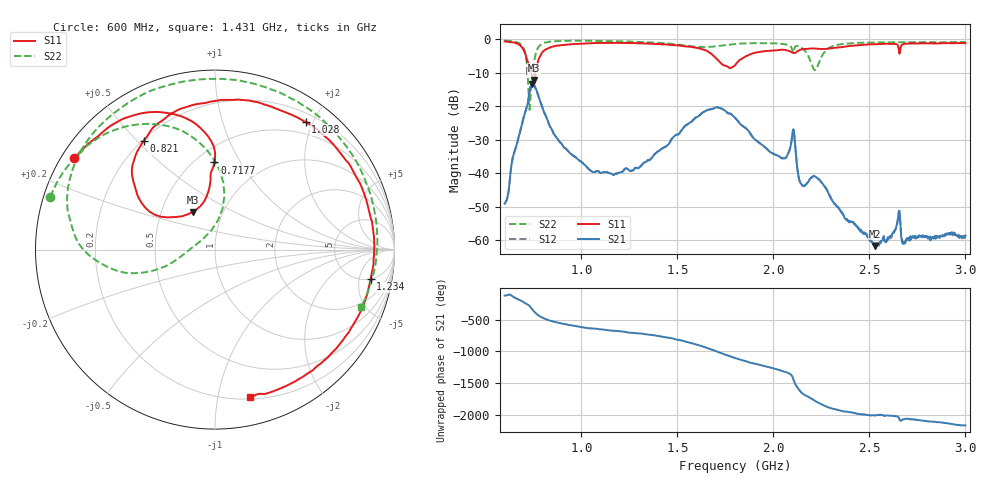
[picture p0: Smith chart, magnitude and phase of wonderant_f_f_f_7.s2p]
#  HZ  S  RI  R  50.00
! Rohde & Schwarz ZVB8 2Ports - Version 2.81 - 1145.1010k08 SN: 100113
! Date: 2016-05-17 22:38:12
! Measurements: S11 S21 S12 S22
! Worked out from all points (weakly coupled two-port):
!   1000 points, 600 MHz to 3 GHz, reference 50 ohm
!   highest |S21| = -13.19 dB at 744.1 MHz (marker M1); lowest = -61.6 dB at 2.529 GHz (marker M2)
!   lowest |S11| = -12.3 dB at 751.4 MHz (marker M3), VSWR 1.65, Z = 36 + j16.1 ohm
!   |S11| at or under -10 dB: 740 MHz to 762.6 MHz (22.66 MHz wide, 3.02 % of centre)
!   |S22| runs from -21.0 to -0.3 dB; largest |S21 - S12| = 0.0027
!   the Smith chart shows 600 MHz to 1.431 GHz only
!   S11 on the Smith chart (normalised r, x): 600 MHz: 0.04, +0.30; 717.7 MHz: 0.62, +0.78; 821 MHz: 0.20, +0.52; 1.028 GHz: 0.32, +1.89; 1.234 GHz: 4.93, -7.34; 1.431 GHz: 0.22, -1.24
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6e8  -0.784 0.5082  -0.00195 -0.00296  -0.00202 -0.00298  -0.9181 0.2934
6.888889e8  -0.1953 0.7451  -0.0454 0.0245  -0.0456 0.024  -0.4239 0.6981
7.177177e8  -0.00321 0.4853  -0.0164 0.1011  -0.017 0.1011  0.0466 0.3743
7.441441e8  -0.0584 0.2717  0.207 0.0715  0.2066 0.0729  -0.2702 -0.0903
7.513514e8  -0.1241 0.21  0.2104 -0.0243  0.2111 -0.0233  -0.4011 -0.1283
8.21021e8  -0.3978 0.6054  -0.0514 -0.0407  -0.0513 -0.041  -0.7919 0.4502
1.001201e9  0.3981 0.7635  -0.00256 0.0146  -0.00261 0.0146  -0.1695 0.9375
1.027628e9  0.5042 0.7116  0.000619 0.0125  0.000552 0.0124  -0.0639 0.9498
1.234234e9  0.8667 -0.1649  0.0111 0.00435  0.0111 0.00427  0.7136 0.5988
1.4e9  0.3504 -0.7795  0.0165 -0.0134  0.0166 -0.0134  0.8725 -0.1719
1.431231e9  0.194 -0.8205  0.0138 -0.0204  0.0139 -0.0203  0.8151 -0.3205
1.623423e9  -0.6106 -0.3828  -0.0752 0.019  -0.0753 0.0187  0.0937 -0.7648
1.801201e9  -0.4127 -0.0419  0.0608 -0.0295  0.0608 -0.0292  -0.6314 -0.5729
1.902102e9  -0.5352 0.3311  -0.0122 -0.0299  -0.012 -0.0301  -0.869 -0.133
2.027027e9  0.0238 0.694  -0.0158 0.00908  -0.0158 0.00904  -0.7403 0.4543
2.101502e9  0.3994 0.4868  0.0389 0.019  0.0389 0.019  -0.3473 0.5442
2.142342e9  0.5632 0.4197  -0.00688 0.00179  -0.00692 0.00177  -0.2785 0.7087
2.2e9  0.7279 0.0801  0.00506 0.00718  0.00501 0.00715  -0.0363 0.4222
2.276877e9  0.6423 -0.3315  0.00228 -0.0054  0.00225 -0.00539  -0.3594 0.5977
2.529129e9  -0.3335 -0.7784  -0.000759 0.000335  -0.000818 0.000335  0.6317 0.6398
2.601201e9  -0.6 -0.6186  -0.000953 0.000539  -0.00095 0.000522  0.7958 0.4287
3e9  -0.6535 0.5871  0.00118 -6.19e-05  0.00121 -8.74e-05  0.5382 -0.7384
